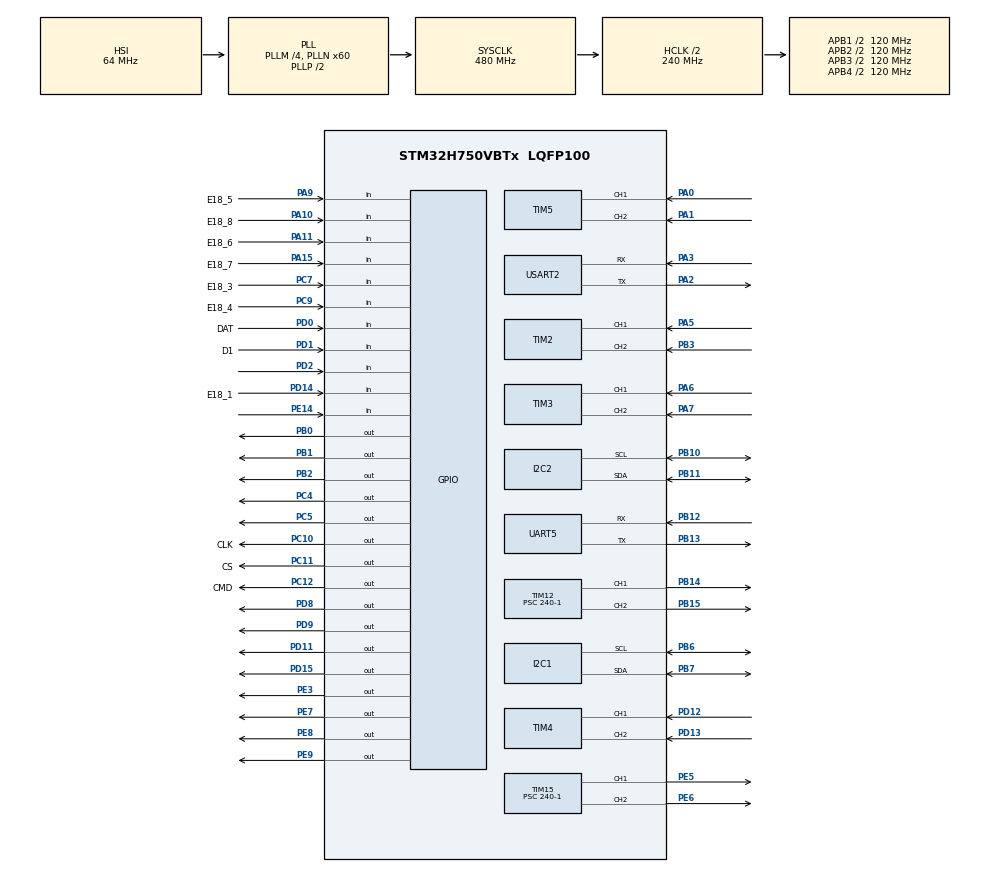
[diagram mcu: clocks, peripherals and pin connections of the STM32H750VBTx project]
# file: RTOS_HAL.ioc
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CORTEX_M7.default_mode_Activation=1
FREERTOS.Events01=ControlEvent,Dynamic,NULL
FREERTOS.Queues01=YawData,1,float,0,Dynamic,NULL,NULL
FREERTOS.Tasks01=defaultTask,24,512,StartDefaultTask,Default,NULL,Dynamic,NULL,NULL;Control_Task,24,512,StartControl,Default,NULL,Dynamic,NULL,NULL;Motor_Task,26,1024,StartMotor,Default,NULL,Dynamic,NULL,NULL;Tof_F_Task,24,512,StartTof_F,Default,NULL,Dynamic,NULL,NULL;PS2Task,24,128,StartPS2,Default,NULL,Dynamic,NULL,NULL;Type_Task,25,512,StartType,Default,NULL,Dynamic,NULL,NULL
FREERTOS.Timers01=MPU6050,MPU6050_Callback,osTimerPeriodic,Default,NULL,Dynamic,NULL
FREERTOS.configTIMER_TASK_PRIORITY=2
FREERTOS.configTOTAL_HEAP_SIZE=20480
FREERTOS.configUSE_IDLE_HOOK=1
FREERTOS.configUSE_STATS_FORMATTING_FUNCTIONS=1
I2C1.Timing=0x307075B1
I2C2.Timing=0x307075B1
Mcu.Family=STM32H7
Mcu.Name=STM32H750VBTx
Mcu.Package=LQFP100
NVIC.PriorityGroup=NVIC_PRIORITYGROUP_4
NVIC.TIM15_IRQn=true\:5\:0\:false\:false\:true\:true\:true\:true\:true
NVIC.TIM6_DAC_IRQn=true\:15\:0\:false\:false\:true\:false\:false\:true\:true
NVIC.TIM7_IRQn=true\:5\:0\:false\:false\:true\:true\:true\:true\:true
NVIC.TIM8_BRK_TIM12_IRQn=true\:5\:0\:false\:false\:true\:true\:true\:true\:true
NVIC.TimeBase=TIM6_DAC_IRQn
NVIC.TimeBaseIP=TIM6
NVIC.UART5_IRQn=true\:5\:0\:false\:false\:true\:true\:true\:true\:true
NVIC.USART2_IRQn=true\:5\:0\:false\:false\:true\:true\:true\:true\:true
PA0.Signal=S_TIM5_CH1
PA1.Signal=S_TIM5_CH2
PA10.GPIO_Label=E18_8
PA10.GPIO_PuPd=GPIO_PULLUP
PA10.Signal=GPIO_Input
PA11.GPIO_Label=E18_6
PA11.GPIO_PuPd=GPIO_PULLUP
PA11.Signal=GPIO_Input
PA15\ (JTDI).GPIO_Label=E18_7
PA15\ (JTDI).GPIO_PuPd=GPIO_PULLUP
PA15\ (JTDI).Signal=GPIO_Input
PA2.Mode=Asynchronous
PA2.Signal=USART2_TX
PA3.Mode=Asynchronous
PA3.Signal=USART2_RX
PA5.Signal=S_TIM2_CH1_ETR
PA6.Signal=S_TIM3_CH1
PA7.Signal=S_TIM3_CH2
PA9.GPIO_Label=E18_5
PA9.GPIO_PuPd=GPIO_PULLUP
PA9.Signal=GPIO_Input
PB0.Signal=GPIO_Output
PB1.Signal=GPIO_Output
PB10.Mode=I2C
PB10.Signal=I2C2_SCL
PB11.Mode=I2C
PB11.Signal=I2C2_SDA
PB12.Mode=Asynchronous
PB12.Signal=UART5_RX
PB13.Mode=Asynchronous
PB13.Signal=UART5_TX
PB14.Signal=S_TIM12_CH1
PB15.Signal=S_TIM12_CH2
PB2.Signal=GPIO_Output
PB3\ (JTDO/TRACESWO).Signal=S_TIM2_CH2
PB6.Mode=I2C
PB6.Signal=I2C1_SCL
PB7.Mode=I2C
PB7.Signal=I2C1_SDA
PC10.GPIO_Label=CLK
PC10.GPIO_Speed=GPIO_SPEED_FREQ_HIGH
PC10.Signal=GPIO_Output
PC11.GPIO_Label=CS
PC11.GPIO_Speed=GPIO_SPEED_FREQ_HIGH
PC11.Signal=GPIO_Output
PC12.GPIO_Label=CMD
PC12.GPIO_Speed=GPIO_SPEED_FREQ_HIGH
PC12.Signal=GPIO_Output
PC4.Signal=GPIO_Output
PC5.Signal=GPIO_Output
PC7.GPIO_Label=E18_3
PC7.GPIO_PuPd=GPIO_PULLUP
PC7.Signal=GPIO_Input
PC9.GPIO_Label=E18_4
PC9.GPIO_PuPd=GPIO_PULLUP
PC9.Signal=GPIO_Input
PD0.GPIO_Label=DAT
PD0.GPIO_PuPd=GPIO_PULLDOWN
PD0.Signal=GPIO_Input
PD1.GPIO_Label=D1
PD1.GPIO_PuPd=GPIO_PULLUP
PD1.Signal=GPIO_Input
PD11.Signal=GPIO_Output
PD12.Signal=S_TIM4_CH1
PD13.Signal=S_TIM4_CH2
PD14.GPIO_Label=E18_1
PD14.GPIO_PuPd=GPIO_PULLUP
PD14.Signal=GPIO_Input
PD15.Signal=GPIO_Output
PD2.GPIO_PuPd=GPIO_PULLUP
PD2.Signal=GPIO_Input
PD8.Signal=GPIO_Output
PD9.Signal=GPIO_Output
PE14.Signal=GPIO_Input
PE3.Signal=GPIO_Output
PE5.Signal=S_TIM15_CH1
PE6.Signal=S_TIM15_CH2
PE7.Signal=GPIO_Output
PE8.Signal=GPIO_Output
PE9.Signal=GPIO_Output
PH0-OSC_IN\ (PH0).Mode=HSE-External-Oscillator
PH0-OSC_IN\ (PH0).Signal=RCC_OSC_IN
PH1-OSC_OUT\ (PH1).Mode=HSE-External-Oscillator
PH1-OSC_OUT\ (PH1).Signal=RCC_OSC_OUT
ProjectManager.HeapSize=0x200
ProjectManager.StackSize=0x400
ProjectManager.TargetToolchain=MDK-ARM V5
RCC.ADCFreq_Value=129000000
RCC.APB1Freq_Value=120000000
RCC.APB2Freq_Value=120000000
RCC.APB3Freq_Value=120000000
RCC.APB4Freq_Value=120000000
RCC.CortexFreq_Value=480000000
RCC.D1PPRE=RCC_APB3_DIV2
RCC.D2PPRE1=RCC_APB1_DIV2
RCC.D2PPRE2=RCC_APB2_DIV2
RCC.D3PPRE=RCC_APB4_DIV2
RCC.DIVM1=4
RCC.DIVN1=60
RCC.HCLKFreq_Value=240000000
RCC.HPRE=RCC_HCLK_DIV2
RCC.PLL2FRACN=0
RCC.PLL3FRACN=0
RCC.PLLFRACN=0
RCC.SYSCLKFreq_VALUE=480000000
RCC.SYSCLKSource=RCC_SYSCLKSOURCE_PLLCLK
RCC.USBFreq_Value=480000000
SH.S_TIM12_CH1.0=TIM12_CH1,PWM Generation1 CH1
SH.S_TIM12_CH2.0=TIM12_CH2,PWM Generation2 CH2
SH.S_TIM15_CH1.0=TIM15_CH1,PWM Generation1 CH1
SH.S_TIM15_CH2.0=TIM15_CH2,PWM Generation2 CH2
SH.S_TIM2_CH1_ETR.0=TIM2_CH1,Encoder_Interface
SH.S_TIM2_CH2.0=TIM2_CH2,Encoder_Interface
SH.S_TIM3_CH1.0=TIM3_CH1,Encoder_Interface
SH.S_TIM3_CH2.0=TIM3_CH2,Encoder_Interface
SH.S_TIM4_CH1.0=TIM4_CH1,Encoder_Interface
SH.S_TIM4_CH2.0=TIM4_CH2,Encoder_Interface
SH.S_TIM5_CH1.0=TIM5_CH1,Encoder_Interface
SH.S_TIM5_CH2.0=TIM5_CH2,Encoder_Interface
TIM12.Channel-PWM\ Generation1\ CH1=TIM_CHANNEL_1
TIM12.Channel-PWM\ Generation2\ CH2=TIM_CHANNEL_2
TIM12.Period=100-1
TIM12.Prescaler=240-1
TIM15.Channel-PWM\ Generation1\ CH1=TIM_CHANNEL_1
TIM15.Channel-PWM\ Generation2\ CH2=TIM_CHANNEL_2
TIM15.Period=100-1
TIM15.Prescaler=240-1
TIM2.EncoderMode=TIM_ENCODERMODE_TI12
TIM3.EncoderMode=TIM_ENCODERMODE_TI12
TIM4.EncoderMode=TIM_ENCODERMODE_TI12
TIM5.EncoderMode=TIM_ENCODERMODE_TI12
TIM7.Period=65535
TIM7.Prescaler=240-1
USART2.VirtualMode-Asynchronous=VM_ASYNC
VP_FREERTOS_VS_CMSIS_V2.Mode=CMSIS_V2
VP_MEMORYMAP_VS_MEMORYMAP.Mode=CurAppReg
VP_SYS_VS_tim6.Mode=TIM6
VP_TIM12_VS_ClockSourceINT.Mode=Internal
VP_TIM15_VS_ClockSourceINT.Mode=Internal
VP_TIM1_VS_ClockSourceINT.Mode=Internal
VP_TIM7_VS_ClockSourceINT.Mode=Enable_Timer
board=custom

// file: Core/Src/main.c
/* USER CODE BEGIN Header */
/**
  ******************************************************************************
  * @file           : main.c
  * @brief          : Main program body
  ******************************************************************************
  * @attention
  *
  * Copyright (c) 2024 STMicroelectronics.
  * All rights reserved.
  *
  * This software is licensed under terms that can be found in the LICENSE file
  * in the root directory of this software component.
  * If no LICENSE file comes with this software, it is provided AS-IS.
  *
  ******************************************************************************
  */
/* USER CODE END Header */
#include "main.h"
#include "cmsis_os.h"
#include "i2c.h"
#include "memorymap.h"
#include "tim.h"
#include "usart.h"
#include "gpio.h"

/* USER CODE BEGIN Includes */
#include "../../BSP/robot_motor.h"
#include "string.h"
#include "ps2.h"
/* USER CODE END Includes */

void SystemClock_Config(void);
static void MPU_Config(void);
void MX_FREERTOS_Init(void);

/* USER CODE BEGIN 0 */

/* 通过 UART5 阻塞发送 ch 的低八位，单字节超时为 65535 毫秒。
 * 忽略流参数 f 和 HAL 状态，返回原 ch，调用方无法据此判断是否发送成功。
 */
int fputc(int ch, FILE *f)
{
  HAL_UART_Transmit(&huart5, (uint8_t *)&ch, 1, 0xffff);
  return ch;
}

/* 通过 UART5 阻塞读取一个字节，忽略流参数 f，超时为 65535 毫秒。
 * 成功时返回接收值；接收失败时 ch 可能尚未赋值，返回值不能用于判定错误。
 */
int fgetc(FILE *f)
{
  uint8_t ch;
  HAL_UART_Receive(&huart5, &ch, 1, 0xffff);
  return ch;
}

/* USER CODE END 0 */

/* 在启动调度器前配置外设、手柄和 MPU6050，启动四路 PWM 与编码器。
 * DMP 初始化失败进入 Error_Handler；调度器返回时主程序停在空循环。
 */
int main(void)
{

  /* MPU Configuration--------------------------------------------------------*/
  MPU_Config();

  /* MCU Configuration--------------------------------------------------------*/

  /* Reset of all peripherals, Initializes the Flash interface and the Systick. */
  HAL_Init();

  /* Configure the system clock */
  SystemClock_Config();

  /* Initialize all configured peripherals */
  MX_GPIO_Init();
  MX_I2C1_Init();
  MX_I2C2_Init();
  MX_TIM2_Init();
  MX_UART5_Init();
  MX_TIM1_Init();
  MX_TIM3_Init();
  MX_TIM4_Init();
  MX_TIM5_Init();
  MX_TIM12_Init();
  MX_TIM15_Init();
  MX_USART2_UART_Init();
  MX_TIM7_Init();
  /* USER CODE BEGIN 2 */

    AX_PS2_Init();
    if (MPU6050_DMP_init() != 0)
    {
        Error_Handler();
    }

  HAL_TIM_Base_Start_IT(&htim12);
  HAL_TIM_Base_Start_IT(&htim15);

  HAL_TIM_PWM_Start(&htim12,TIM_CHANNEL_1);
  HAL_TIM_PWM_Start(&htim12,TIM_CHANNEL_2);
  HAL_TIM_PWM_Start(&htim15,TIM_CHANNEL_1);
  HAL_TIM_PWM_Start(&htim15,TIM_CHANNEL_2);

  HAL_TIM_Encoder_Start(&htim2,TIM_CHANNEL_ALL);
  HAL_TIM_Encoder_Start(&htim3,TIM_CHANNEL_ALL);
  HAL_TIM_Encoder_Start(&htim4,TIM_CHANNEL_ALL);
  HAL_TIM_Encoder_Start(&htim5,TIM_CHANNEL_ALL);

  /* USER CODE END 2 */

  /* Init scheduler */
  osKernelInitialize();

  /* Call init function for freertos objects (in cmsis_os2.c) */
  MX_FREERTOS_Init();

  /* Start scheduler */
  osKernelStart();

  /* We should never get here as control is now taken by the scheduler */

  /* Infinite loop */
  while (1)
  {

  }
}

void SystemClock_Config(void)
{
  RCC_OscInitTypeDef RCC_OscInitStruct = {0};
  RCC_ClkInitTypeDef RCC_ClkInitStruct = {0};

  /** Supply configuration update enable
  */
  HAL_PWREx_ConfigSupply(PWR_LDO_SUPPLY);

  /** Configure the main internal regulator output voltage
  */
  __HAL_PWR_VOLTAGESCALING_CONFIG(PWR_REGULATOR_VOLTAGE_SCALE1);

  while(!__HAL_PWR_GET_FLAG(PWR_FLAG_VOSRDY)) {}

  __HAL_RCC_SYSCFG_CLK_ENABLE();
  __HAL_PWR_VOLTAGESCALING_CONFIG(PWR_REGULATOR_VOLTAGE_SCALE0);

  while(!__HAL_PWR_GET_FLAG(PWR_FLAG_VOSRDY)) {}

  /** Initializes the RCC Oscillators according to the specified parameters
  * in the RCC_OscInitTypeDef structure.
  */
  RCC_OscInitStruct.OscillatorType = RCC_OSCILLATORTYPE_HSI;
  RCC_OscInitStruct.HSIState = RCC_HSI_DIV1;
  RCC_OscInitStruct.HSICalibrationValue = RCC_HSICALIBRATION_DEFAULT;
  RCC_OscInitStruct.PLL.PLLState = RCC_PLL_ON;
  RCC_OscInitStruct.PLL.PLLSource = RCC_PLLSOURCE_HSI;
  RCC_OscInitStruct.PLL.PLLM = 4;
  RCC_OscInitStruct.PLL.PLLN = 60;
  RCC_OscInitStruct.PLL.PLLP = 2;
  RCC_OscInitStruct.PLL.PLLQ = 2;
  RCC_OscInitStruct.PLL.PLLR = 2;
  RCC_OscInitStruct.PLL.PLLRGE = RCC_PLL1VCIRANGE_3;
  RCC_OscInitStruct.PLL.PLLVCOSEL = RCC_PLL1VCOWIDE;
  RCC_OscInitStruct.PLL.PLLFRACN = 0;
  if (HAL_RCC_OscConfig(&RCC_OscInitStruct) != HAL_OK)
  {
    Error_Handler();
  }

  /** Initializes the CPU, AHB and APB buses clocks
  */
  RCC_ClkInitStruct.ClockType = RCC_CLOCKTYPE_HCLK|RCC_CLOCKTYPE_SYSCLK
                              |RCC_CLOCKTYPE_PCLK1|RCC_CLOCKTYPE_PCLK2
                              |RCC_CLOCKTYPE_D3PCLK1|RCC_CLOCKTYPE_D1PCLK1;
  RCC_ClkInitStruct.SYSCLKSource = RCC_SYSCLKSOURCE_PLLCLK;
  RCC_ClkInitStruct.SYSCLKDivider = RCC_SYSCLK_DIV1;
  RCC_ClkInitStruct.AHBCLKDivider = RCC_HCLK_DIV2;
  RCC_ClkInitStruct.APB3CLKDivider = RCC_APB3_DIV2;
  RCC_ClkInitStruct.APB1CLKDivider = RCC_APB1_DIV2;
  RCC_ClkInitStruct.APB2CLKDivider = RCC_APB2_DIV2;
  RCC_ClkInitStruct.APB4CLKDivider = RCC_APB4_DIV2;

  if (HAL_RCC_ClockConfig(&RCC_ClkInitStruct, FLASH_LATENCY_4) != HAL_OK)
  {
    Error_Handler();
  }
}

 /* MPU Configuration */

void MPU_Config(void)
{
  MPU_Region_InitTypeDef MPU_InitStruct = {0};

  /* Disables the MPU */
  HAL_MPU_Disable();

  /** Initializes and configures the Region and the memory to be protected
  */
  MPU_InitStruct.Enable = MPU_REGION_ENABLE;
  MPU_InitStruct.Number = MPU_REGION_NUMBER0;
  MPU_InitStruct.BaseAddress = 0x0;
  MPU_InitStruct.Size = MPU_REGION_SIZE_4GB;
  MPU_InitStruct.SubRegionDisable = 0x87;
  MPU_InitStruct.TypeExtField = MPU_TEX_LEVEL0;
  MPU_InitStruct.AccessPermission = MPU_REGION_NO_ACCESS;
  MPU_InitStruct.DisableExec = MPU_INSTRUCTION_ACCESS_DISABLE;
  MPU_InitStruct.IsShareable = MPU_ACCESS_SHAREABLE;
  MPU_InitStruct.IsCacheable = MPU_ACCESS_NOT_CACHEABLE;
  MPU_InitStruct.IsBufferable = MPU_ACCESS_NOT_BUFFERABLE;

  HAL_MPU_ConfigRegion(&MPU_InitStruct);

  /* Enables the MPU */
  HAL_MPU_Enable(MPU_PRIVILEGED_DEFAULT);

}

void HAL_TIM_PeriodElapsedCallback(TIM_HandleTypeDef *htim)
{
  if (htim->Instance == TIM6) {
    HAL_IncTick();
  }
}

/* 关闭可屏蔽中断并停在故障现场。若 IWDG1 已启动，将由看门狗超时复位。 */
void Error_Handler(void)
{
  /* USER CODE BEGIN Error_Handler_Debug */
  __disable_irq();
  /* 初始化中途和运行期共用此入口，只操作已经供钟的外设。 */
  if (__HAL_RCC_GPIOD_IS_CLK_ENABLED())
  {
    HAL_GPIO_WritePin(GPIOD, GPIO_PIN_8, GPIO_PIN_RESET);
  }
  robot_motor_emergency_stop();
  while (1)
  {
  }
  /* USER CODE END Error_Handler_Debug */
}

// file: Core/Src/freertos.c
/* USER CODE BEGIN Header */
/**
  ******************************************************************************
  * File Name          : freertos.c
  * Description        : Code for freertos applications
  ******************************************************************************
  * @attention
  *
  * Copyright (c) 2024 STMicroelectronics.
  * All rights reserved.
  *
  * This software is licensed under terms that can be found in the LICENSE file
  * in the root directory of this software component.
  * If no LICENSE file comes with this software, it is provided AS-IS.
  *
  ******************************************************************************
  */
/* USER CODE END Header */

#include "FreeRTOS.h"
#include "task.h"
#include "main.h"
#include "cmsis_os.h"

/* USER CODE BEGIN Includes */
#include <math.h>
#include <stdbool.h>
#include <stddef.h>
#include <stdint.h>

#include "../../BSP/robot_motor.h"
#include "../../BSP/robot_range.h"
#include "../../BSP/robot_uart.h"
#include "../../BSP/robot_watchdog.h"
#include "../../MPU6050/MPU6050.h"
#include "../../PID/pid.h"
#include "../../PS2/ps2.h"
#include "../../modules/robot_link.h"
#include "event_groups.h"
#include "queue.h"
#include "tim.h"
#include "usart.h"
/* USER CODE END Includes */

/* USER CODE BEGIN PTD */
typedef struct
{
    uint32_t progress_ms;
    uint32_t heartbeat_ms;
    uint32_t legacy_request_ms;
    uint8_t spray_request;
    bool supervised;
    bool stopped;
} robot_control_status;

/* 同一指令编号在手动和自动模式下沿用原有含义。 */
typedef enum
{
    /* 上电尚未选择动作。 */
    ROBOT_MOTION_UNSET = 0,
    /* 向前行驶。 */
    ROBOT_MOTION_FORWARD = 1,
    /* 向后行驶。 */
    ROBOT_MOTION_REVERSE = 2,
    /* 自动前端减速，手动向右平移。 */
    ROBOT_MOTION_FRONT_APPROACH = 3,
    /* 自动后端减速，手动向左平移。 */
    ROBOT_MOTION_REAR_APPROACH = 4,
    /* 自动向左换行，手动正向旋转。 */
    ROBOT_MOTION_SHIFT_LEFT = 5,
    /* 自动向左减速。 */
    ROBOT_MOTION_SLOW_LEFT = 6,
    /* 自动按前距右移，手动反向旋转。 */
    ROBOT_MOTION_FRONT_SHIFT = 7,
    /* 自动按后距右移。 */
    ROBOT_MOTION_REAR_SHIFT = 8,
    /* 末行向右退出。 */
    ROBOT_MOTION_EXIT_SHIFT = 9,
    /* 目标速度归零。 */
    ROBOT_MOTION_STOP = 10,
    /* 起步向左移入首行。 */
    ROBOT_MOTION_ENTRY = 11
} robot_motion_command;

typedef enum
{
    /* 尚未进垄，或行程已结束。 */
    ROBOT_ROUTE_IDLE,
    /* 向后行驶，等待后端换垄。 */
    ROBOT_ROUTE_REVERSE,
    /* 向前行驶，等待前端换垄。 */
    ROBOT_ROUTE_FORWARD,
    /* 最后一次换垄后退出。 */
    ROBOT_ROUTE_EXIT
} robot_route_phase;

typedef struct
{
    float forward;
    float lateral;
    float rotation;
} robot_velocity;

typedef struct
{
    int yaw;
    int front;
    int rear;
    int left;
} robot_motion_trim;

typedef struct
{
    robot_range_sample sample;
    uint32_t started_ms;
    bool valid;
} robot_range_update;

typedef struct
{
    bool range_valid;
    bool front;
    bool rear;
    bool left;
    robot_range_sample range;
    float reference_rpm;
} robot_route_input;

typedef struct
{
    robot_route_phase phase;
    bool entered;
    bool counting_shift;
    bool counting_exit;
    bool slow_exit_pending;
    unsigned int completed_rows;
    double entry_m;
    double shift_m;
    double exit_m;
} robot_route_state;
/* USER CODE END PTD */

/* USER CODE BEGIN PD */
#define ROBOT_CONTROL_PROGRESS_MS (250U)
#define ROBOT_CONTROL_WAKE_MS (20U)
#define ROBOT_CONTROL_TX_TIMEOUT_MS (5U)
#define ROBOT_MOTION_PERIOD_MS (10U)
#define ROBOT_PS2_PERIOD_MS (15U)
#define ROBOT_IMU_PERIOD_MS (30U)
/* 三次默认单次测距的预算各为 33 毫秒，另留总线和任务调度时间。 */
#define ROBOT_RANGE_MAX_AGE_MS (500U)
#define ROBOT_RANGE_INIT_RETRY_MS (1000U)
#define ROBOT_IMU_SAMPLE_EVENT (1U << 0)
#define ROBOT_PS2_ANALOG_MODE (0x73U)
#define ROBOT_PS2_START_BUTTON (0x04U)
#define ROBOT_PS2_VERTICAL_CENTER (127U)
#define ROBOT_PS2_HORIZONTAL_CENTER (128U)
#define ROBOT_FRONT_REAR_TARGET_MM (100U)
#define ROBOT_LEFT_TARGET_MM (80U)
#define ROBOT_LEFT_LIMIT_MM (200U)
#define ROBOT_ENTRY_DISTANCE_MM (175U)
#define ROBOT_ROW_END_MM (150U)
#define ROBOT_EXIT_DISTANCE_MM (200U)
#define ROBOT_ROW_COUNT (3U)
#define ROBOT_ENTRY_TRAVEL_M (0.50)
#define ROBOT_SHIFT_TRAVEL_M (0.55)
#define ROBOT_EXIT_TRAVEL_M (0.50)
#define ROBOT_WHEEL_DIAMETER_M (0.08)
#define ROBOT_ENCODER_COUNTS_PER_REV (11.0 * 30.0 * 4.0)
/* 保留底盘实测使用的原换算系数和圆周率近似值。 */
#define ROBOT_ENCODER_RPM_SCALE (2000.0)
#define ROBOT_WHEEL_PI (3.14)
#define ROBOT_ROTATION_ARM (0.2F)
#define ROBOT_CONTROL_BATCH_BYTES (32U)
#define ROBOT_PUMP_ON (1U)
#define ROBOT_PUMP_OFF (2U)
/* USER CODE END PD */

/* USER CODE BEGIN Variables */
/* 调度前初始化，整个上电周期由电机任务独占。四轮顺序与 PWM 输出 A、B、C、D 一致。 */
static pid_type_def g_robot_wheel_pid[4];
static pid_type_def g_robot_yaw_pid;
/* 前后测距依次使用同一控制器，共享误差历史；左侧测距使用独立控制器。 */
static pid_type_def g_robot_front_rear_range_pid;
static pid_type_def g_robot_left_range_pid;

/* 单槽快照只保留最新值。通信任务 -> control_queue -> 电机任务（窥读）；
 * 测距任务 -> range_queue -> 电机任务（取走）。两条队列的存储持续整个上电周期。
 */
static StaticQueue_t g_robot_control_queue_storage;
static uint8_t g_robot_control_slot[sizeof(robot_control_status)];
static QueueHandle_t g_robot_control_queue;
static StaticQueue_t g_robot_range_queue_storage;
static uint8_t g_robot_range_slot[sizeof(robot_range_update)];
static QueueHandle_t g_robot_range_queue;
static robot_control_status g_robot_control_status;
static robot_link_receiver g_robot_link_receiver;

/* 以下状态在本次上电期间由任务共享。发布手柄、控制指令和传感器快照时保护一致性。 */
static robot_motion_command g_robot_motion_command;
static robot_route_input g_robot_route_input;
static bool g_robot_route_enabled;
static bool g_robot_entry_counting;

/* 保留原有实际施药请求的外部观察点，供板上调试读取。 */
uint8_t g_robot_spray_request;
/* USER CODE END Variables */
/* Definitions for defaultTask */
osThreadId_t defaultTaskHandle;
const osThreadAttr_t defaultTask_attributes = {
  .name = "defaultTask",
  .stack_size = 512 * 4,
  .priority = (osPriority_t) osPriorityNormal,
};
/* Definitions for Control_Task */
osThreadId_t Control_TaskHandle;
const osThreadAttr_t Control_Task_attributes = {
  .name = "Control_Task",
  .stack_size = 512 * 4,
  .priority = (osPriority_t) osPriorityNormal,
};
/* Definitions for Motor_Task */
osThreadId_t Motor_TaskHandle;
const osThreadAttr_t Motor_Task_attributes = {
  .name = "Motor_Task",
  .stack_size = 1024 * 4,
  .priority = (osPriority_t) osPriorityNormal2,
};
/* Definitions for Tof_F_Task */
osThreadId_t Tof_F_TaskHandle;
const osThreadAttr_t Tof_F_Task_attributes = {
  .name = "Tof_F_Task",
  .stack_size = 512 * 4,
  .priority = (osPriority_t) osPriorityNormal,
};
/* Definitions for PS2Task */
osThreadId_t PS2TaskHandle;
const osThreadAttr_t PS2Task_attributes = {
  .name = "PS2Task",
  .stack_size = 128 * 4,
  .priority = (osPriority_t) osPriorityNormal,
};
/* Definitions for Type_Task */
osThreadId_t Type_TaskHandle;
const osThreadAttr_t Type_Task_attributes = {
  .name = "Type_Task",
  .stack_size = 512 * 4,
  .priority = (osPriority_t) osPriorityNormal1,
};
/* Definitions for YawData */
osMessageQueueId_t YawDataHandle;
const osMessageQueueAttr_t YawData_attributes = {
  .name = "YawData"
};
/* Definitions for MPU6050 */
osTimerId_t MPU6050Handle;
const osTimerAttr_t MPU6050_attributes = {
  .name = "MPU6050"
};
/* Definitions for ControlEvent */
osEventFlagsId_t ControlEventHandle;
const osEventFlagsAttr_t ControlEvent_attributes = {
  .name = "ControlEvent"
};

/* USER CODE BEGIN FunctionPrototypes */
static void robot_control_deliver(const robot_link_event *event);
static bool robot_control_allow_motion(void);
static uint8_t robot_control_pump_request(const robot_control_status *status, uint32_t now_ms);
static robot_motion_command robot_ps2_decode(const JOYSTICK_TypeDef *joystick);
static void robot_route_step(robot_route_state *route, const robot_route_input *input);
static void robot_motion_select(bool manual, robot_motion_command command,
                                const robot_motion_trim *trim, robot_velocity *velocity);
static void robot_motion_drive(const robot_velocity *velocity, float wheel_rpm[4]);
static void robot_motion_write(const int pwm[4]);
/* USER CODE END FunctionPrototypes */

void StartDefaultTask(void *argument);
void StartControl(void *argument);
void StartMotor(void *argument);
void StartTof_F(void *argument);
void StartPS2(void *argument);
void StartType(void *argument);
void MPU6050_Callback(void *argument);

void MX_FREERTOS_Init(void); /* (MISRA C 2004 rule 8.1) */

/* Hook prototypes */
void vApplicationIdleHook(void);

/* USER CODE BEGIN 2 */
/* FreeRTOS 已启用空闲钩子。此处直接返回，供内核继续回收已删除任务。 */
void vApplicationIdleHook(void)
{
}
/* USER CODE END 2 */

/* 由 main 在调度开始前调用，配置 PID、任务、单槽队列、事件组和姿态采样定时器。
 * 检查对象句柄后启动 IWDG1，创建对象或启动看门狗失败时进入 Error_Handler。
 */
void MX_FREERTOS_Init(void) {
  /* USER CODE BEGIN Init */
    const float wheel_gains[3] = {5.0F, 0.2F, 0.0F};
    const float yaw_gains[3] = {2.5F, 0.0F, 0.3F};
    const float front_rear_gains[3] = {0.15F, 0.0F, 0.005F};
    const float left_gains[3] = {0.5F, 0.0F, 0.02F};
    size_t wheel;

    for (wheel = 0U; wheel < sizeof(g_robot_wheel_pid) / sizeof(g_robot_wheel_pid[0]); ++wheel)
    {
        pid_init(&g_robot_wheel_pid[wheel], PID_DELTA, wheel_gains, 100.0F, 5.0F);
    }
    pid_init(&g_robot_yaw_pid, PID_POSITION, yaw_gains, 500.0F, 5.0F);
    pid_init(&g_robot_front_rear_range_pid, PID_POSITION, front_rear_gains, 100.0F, 5.0F);
    pid_init(&g_robot_left_range_pid, PID_POSITION, left_gains, 100.0F, 5.0F);
  /* USER CODE END Init */

  /* Create the timer(s) */
  /* creation of MPU6050 */
  MPU6050Handle = osTimerNew(MPU6050_Callback, osTimerPeriodic, NULL, &MPU6050_attributes);

  /* Create the queue(s) */
  /* creation of YawData */
  YawDataHandle = osMessageQueueNew (1, sizeof(float), &YawData_attributes);

  /* USER CODE BEGIN RTOS_QUEUES */
    g_robot_control_queue = xQueueCreateStatic(1U, sizeof(robot_control_status),
                                                g_robot_control_slot, &g_robot_control_queue_storage);
    g_robot_range_queue = xQueueCreateStatic(1U, sizeof(robot_range_update),
                                              g_robot_range_slot, &g_robot_range_queue_storage);
    if (g_robot_control_queue == NULL || g_robot_range_queue == NULL)
    {
        Error_Handler();
    }
  /* USER CODE END RTOS_QUEUES */

  /* Create the thread(s) */
  /* creation of defaultTask */
  defaultTaskHandle = osThreadNew(StartDefaultTask, NULL, &defaultTask_attributes);

  /* creation of Control_Task */
  Control_TaskHandle = osThreadNew(StartControl, NULL, &Control_Task_attributes);

  /* creation of Motor_Task */
  Motor_TaskHandle = osThreadNew(StartMotor, NULL, &Motor_Task_attributes);

  /* creation of Tof_F_Task */
  Tof_F_TaskHandle = osThreadNew(StartTof_F, NULL, &Tof_F_Task_attributes);

  /* creation of PS2Task */
  PS2TaskHandle = osThreadNew(StartPS2, NULL, &PS2Task_attributes);

  /* creation of Type_Task */
  Type_TaskHandle = osThreadNew(StartType, NULL, &Type_Task_attributes);

  /* Create the event(s) */
  /* creation of ControlEvent */
  ControlEventHandle = osEventFlagsNew(&ControlEvent_attributes);

  /* USER CODE BEGIN RTOS_EVENTS */
    if (defaultTaskHandle == NULL || Motor_TaskHandle == NULL || Control_TaskHandle == NULL ||
        Type_TaskHandle == NULL || Tof_F_TaskHandle == NULL || PS2TaskHandle == NULL ||
        ControlEventHandle == NULL || YawDataHandle == NULL || MPU6050Handle == NULL)
    {
        Error_Handler();
    }
    if (!robot_watchdog_start())
    {
        Error_Handler();
    }
  /* USER CODE END RTOS_EVENTS */

}

/* USER CODE BEGIN Header_StartDefaultTask */
/* 通信任务独占 USART2 接收器，按字节解析并向电机任务发布最新控制状态。
 * 心跳超时、启动接收失败或字节流中断会锁存停车请求；恢复 DMA 后仍保留该请求。
 */
/* USER CODE END Header_StartDefaultTask */
void StartDefaultTask(void *argument)
{
  /* USER CODE BEGIN StartDefaultTask */
    uint8_t bytes[ROBOT_CONTROL_BATCH_BYTES];
    bool running = false;
    (void)argument;
    for (;;)
    {
        bool fault = false;
        size_t count;
        size_t index;
        if (!running)
        {
            running = robot_uart_start();
            if (!running)
            {
                g_robot_control_status.stopped = true;
            }
        }
        count = running ? robot_uart_read(bytes, sizeof(bytes), &fault) : 0U;
        if (fault)
        {
            g_robot_control_status.stopped = true;
            g_robot_link_receiver.used = 0U;
            g_robot_link_receiver.phase = ROBOT_LINK_DROP_LINE;
            running = false;
        }
        for (index = 0U; index < count; ++index)
        {
            /* 上一帧的 ACK 可能阻塞，解析器只在处理行尾时使用毫秒时钟。 */
            uint32_t frame_ms = bytes[index] == '\n' ? HAL_GetTick() : 0U;
            robot_link_feed(&g_robot_link_receiver, bytes[index], frame_ms, robot_control_deliver);
        }
        g_robot_control_status.progress_ms = HAL_GetTick();
        if (robot_link_expired(&g_robot_link_receiver, g_robot_control_status.progress_ms))
        {
            g_robot_control_status.stopped = true;
        }
        g_robot_control_status.spray_request =
            robot_control_pump_request(&g_robot_control_status, g_robot_control_status.progress_ms);
        if (xQueueOverwrite(g_robot_control_queue, &g_robot_control_status) != pdPASS)
        {
            Error_Handler();
        }
        if (count == 0U)
        {
            /* 定时唤醒用于监督会话和恢复 DMA，返回零表示当前无通知。 */
            (void)ulTaskNotifyTake(pdTRUE, pdMS_TO_TICKS(ROBOT_CONTROL_WAKE_MS));
        }
    }
  /* USER CODE END StartDefaultTask */
}

/* USER CODE BEGIN Header_StartControl */
/* 姿态任务按软件定时器事件读取 DMP，将有限的偏航角（度）覆盖写入单槽队列。
 * FIFO 读取失败或未产生有效偏航角时跳过本次发布。
 */
/* USER CODE END Header_StartControl */
void StartControl(void *argument)
{
  /* USER CODE BEGIN StartControl */
    (void)argument;
    if (osTimerStart(MPU6050Handle, pdMS_TO_TICKS(ROBOT_IMU_PERIOD_MS)) != osOK)
    {
        Error_Handler();
    }
    for (;;)
    {
        float pitch_deg;
        float roll_deg;
        /* 驱动在 FIFO 未携带四元数时也可能返回成功，过滤未写入的偏航角。 */
        float yaw_deg = NAN;
        EventBits_t events = xEventGroupWaitBits(ControlEventHandle, ROBOT_IMU_SAMPLE_EVENT,
                                                  pdTRUE, pdFALSE, portMAX_DELAY);
        if ((events & ROBOT_IMU_SAMPLE_EVENT) != 0U &&
            MPU6050_DMP_Get_Date(&pitch_deg, &roll_deg, &yaw_deg) == 0 && isfinite(yaw_deg))
        {
            if (xQueueOverwrite(YawDataHandle, &yaw_deg) != pdPASS)
            {
                Error_Handler();
            }
        }
    }
  /* USER CODE END StartControl */
}

/* USER CODE BEGIN Header_StartMotor */
/* 电机任务以 10 毫秒延时分隔控制周期，根据手动或导航指令更新四轮闭环输出。
 * 通信故障时关闭 PWM 和 PD8；自动导航还须有新鲜测距。仅收到有效开启请求时拉高 PD8。
 */
/* USER CODE END Header_StartMotor */
void StartMotor(void *argument)
{
  /* USER CODE BEGIN StartMotor */
    robot_velocity velocity = {0};
    robot_motion_trim trim = {0};
    robot_route_input input = {0};
    robot_range_update update = {0};
    const int zero_pwm[4] = {0};
    (void)argument;
    for (;;)
    {
        robot_motion_command command;
        bool manual;
        bool received;
        bool range_stop;
        float yaw_deg;
        float wheel_rpm[4];
        vTaskDelay(pdMS_TO_TICKS(ROBOT_MOTION_PERIOD_MS));
        if (!robot_control_allow_motion())
        {
            HAL_GPIO_WritePin(GPIOD, GPIO_PIN_8, GPIO_PIN_RESET);
            robot_motion_write(zero_pwm);
            taskENTER_CRITICAL();
            g_robot_route_input.range_valid = false;
            taskEXIT_CRITICAL();
            continue;
        }

        taskENTER_CRITICAL();
        manual = my_joystick.mode == ROBOT_PS2_ANALOG_MODE;
        if (my_joystick.btn2 == ROBOT_PS2_START_BUTTON)
        {
            g_robot_route_enabled = true;
            g_robot_entry_counting = true;
            g_robot_motion_command = ROBOT_MOTION_ENTRY;
        }
        command = g_robot_motion_command;
        taskEXIT_CRITICAL();

        /* 三路光电均为低有效，后端实际接在 PA10。 */
        input.front = HAL_GPIO_ReadPin(GPIOA, GPIO_PIN_9) == GPIO_PIN_RESET;
        input.left = HAL_GPIO_ReadPin(GPIOA, GPIO_PIN_11) == GPIO_PIN_RESET;
        input.rear = HAL_GPIO_ReadPin(GPIOA, GPIO_PIN_10) == GPIO_PIN_RESET;

        received = xQueueReceive(g_robot_range_queue, &update, 0U) == pdPASS;
        if (HAL_GetTick() - update.started_ms >= ROBOT_RANGE_MAX_AGE_MS)
        {
            update.valid = false;
        }
        input.range_valid = update.valid;
        range_stop = !manual && !input.range_valid;
        /* 本周期沿用上一次的纠偏量。新样本只影响下一周期的目标轮速。 */
        if (!range_stop)
        {
            robot_motion_select(manual, command, &trim, &velocity);
        }
        if (xQueueReceive(YawDataHandle, &yaw_deg, 0U) == pdPASS)
        {
            trim.yaw = (int)pid_calc(&g_robot_yaw_pid, yaw_deg, 0.0F);
        }
        if (received && input.range_valid)
        {
            input.range = update.sample;
            /* 前后向共用同一 PID 实例，按原有顺序更新其历史状态。 */
            trim.front = (int)pid_calc(&g_robot_front_rear_range_pid, input.range.front_mm, ROBOT_FRONT_REAR_TARGET_MM);
            trim.rear = (int)pid_calc(&g_robot_front_rear_range_pid, input.range.rear_mm, ROBOT_FRONT_REAR_TARGET_MM);
            trim.left = (int)pid_calc(&g_robot_left_range_pid, input.range.left_mm, ROBOT_LEFT_TARGET_MM);
        }
        if (!input.left || input.range.left_mm > ROBOT_LEFT_LIMIT_MM)
        {
            trim.left = 0;
        }

        /* PD8 沿用原停车电平，低为关。自动作业失去测距时也撤销泵输出。 */
        HAL_GPIO_WritePin(GPIOD, GPIO_PIN_8,
                          g_robot_spray_request == ROBOT_PUMP_ON && !(range_stop && g_robot_route_enabled)
                          ? GPIO_PIN_SET : GPIO_PIN_RESET);
        if (range_stop)
        {
            velocity = (robot_velocity){0};
            trim.front = trim.rear = trim.left = 0;
        }
        robot_motion_drive(range_stop ? NULL : &velocity, wheel_rpm);
        /* D 轮为原里程参考轮。整组发布，换垄任务每次读取同一周期的反馈。 */
        input.reference_rpm = wheel_rpm[3];
        taskENTER_CRITICAL();
        g_robot_route_input = input;
        taskEXIT_CRITICAL();
    }
  /* USER CODE END StartMotor */
}

/* USER CODE BEGIN Header_StartTof_F */
/* 测距任务独占三路器件，初始化失败时延时重试。每轮发布三路距离或无效状态，
 * 时间戳取第一路测量前的毫秒时钟，使最早取得的距离也受有效期约束。
 */
/* USER CODE END Header_StartTof_F */
void StartTof_F(void *argument)
{
  /* USER CODE BEGIN StartTof_F */
    robot_range_update update = {0};
    (void)argument;
    while (!robot_range_init())
    {
        vTaskDelay(pdMS_TO_TICKS(ROBOT_RANGE_INIT_RETRY_MS));
    }
    for (;;)
    {
        vTaskDelay(pdMS_TO_TICKS(ROBOT_MOTION_PERIOD_MS));
        update.started_ms = HAL_GetTick();
        update.valid = robot_range_read(&update.sample);
        if (xQueueOverwrite(g_robot_range_queue, &update) != pdPASS)
        {
            Error_Handler();
        }
    }
  /* USER CODE END StartTof_F */
}

/* USER CODE BEGIN Header_StartPS2 */
/* 手柄任务每轮延时 15 毫秒后读取一帧，在同一临界区内发布手柄快照。
 * 仅在模拟模式下更新手动运动指令，其他模式保留当前指令。
 */
/* USER CODE END Header_StartPS2 */
void StartPS2(void *argument)
{
  /* USER CODE BEGIN StartPS2 */
    JOYSTICK_TypeDef sample;
    (void)argument;
    for (;;)
    {
        vTaskDelay(pdMS_TO_TICKS(ROBOT_PS2_PERIOD_MS));
        AX_PS2_ScanKey(&sample);
        taskENTER_CRITICAL();
        my_joystick = sample;
        if (sample.mode == ROBOT_PS2_ANALOG_MODE)
        {
            g_robot_motion_command = robot_ps2_decode(&sample);
        }
        taskEXIT_CRITICAL();
    }
  /* USER CODE END StartPS2 */
}

/* USER CODE BEGIN Header_StartType */
/* 导航任务持有跨周期的垄道状态，仅在路线已启用且手柄处于非模拟模式时推进。
 * 暂停任务调度期间读取电机任务的快照并更新运动指令，中断仍可执行。
 */
/* USER CODE END Header_StartType */
void StartType(void *argument)
{
  /* USER CODE BEGIN StartType */
    robot_route_state route = {0};
    (void)argument;
    for (;;)
    {
        vTaskDelay(pdMS_TO_TICKS(ROBOT_MOTION_PERIOD_MS));
        /* 仅任务访问导航状态。暂停任务切换以完成一次状态转移，外设中断仍可运行。 */
        vTaskSuspendAll();
        if (my_joystick.mode != ROBOT_PS2_ANALOG_MODE && g_robot_route_enabled &&
            g_robot_route_input.range_valid)
        {
            robot_route_step(&route, &g_robot_route_input);
        }
        (void)xTaskResumeAll();
    }
  /* USER CODE END StartType */
}

/* FreeRTOS 软件定时器任务置位姿态采样事件。事件按位传递，重复置位可能合并为一次读取。 */
void MPU6050_Callback(void *argument)
{
  /* USER CODE BEGIN MPU6050_Callback */
    (void)argument;
    /* 回调在软件定时器任务中执行，姿态任务读取后清除此位。 */
    (void)xEventGroupSetBits(ControlEventHandle, ROBOT_IMU_SAMPLE_EVENT);
  /* USER CODE END MPU6050_Callback */
}

/* USER CODE BEGIN Application */
/* 在通信任务内同步处理单帧，event 仅在本次回调期间有效。停车已锁存时直接返回。
 * 新帧更新施药请求和心跳状态，重复帧只重发确认；旧格式指令不发送确认。
 */
static void robot_control_deliver(const robot_link_event *event)
{
    uint8_t ack[ROBOT_LINK_ACK_SIZE];
    if (g_robot_control_status.stopped)
    {
        return;
    }
    if (!event->duplicate)
    {
        /* 新会话从关泵开始，旧协议的开启请求不能由新会话的心跳续期。 */
        if (!g_robot_control_status.supervised && g_robot_link_receiver.active)
        {
            g_robot_control_status.spray_request = ROBOT_PUMP_OFF;
        }
        g_robot_control_status.supervised = g_robot_link_receiver.active;
        g_robot_control_status.heartbeat_ms = g_robot_link_receiver.heartbeat_ms;
        if (event->has_spray)
        {
            g_robot_control_status.spray_request = event->spray_on ? ROBOT_PUMP_ON : ROBOT_PUMP_OFF;
            if (event->legacy)
            {
                g_robot_control_status.legacy_request_ms = HAL_GetTick();
            }
        }
    }
    if (!event->legacy && robot_link_ack(event->sequence, ack))
    {
        /* 发送失败时保留序号，发送方重传后可再次确认；不重复执行业务。 */
        if (HAL_UART_Transmit(&huart2, ack, sizeof(ack), ROBOT_CONTROL_TX_TIMEOUT_MS) != HAL_OK)
        {
            ++g_robot_link_receiver.errors;
        }
    }
}

/* 发布快照和使用快照时均校验旧协议开泵期限。通信任务尚未发布下一次状态时，
 * 电机任务也能在自己的控制周期撤销过期开泵请求。毫秒差值允许时钟回绕。
 */
static uint8_t robot_control_pump_request(const robot_control_status *status, uint32_t now_ms)
{
    if (!status->supervised && status->spray_request == ROBOT_PUMP_ON &&
        now_ms - status->legacy_request_ms >= ROBOT_LINK_TIMEOUT_MS)
    {
        return ROBOT_PUMP_OFF;
    }
    return status->spray_request;
}

/* 电机任务读取最近的通信状态，无状态时返回 false。
 * 通信进度正常时喂狗；进度、会话心跳超时或收到停车状态时锁存停车，直至复位。
 */
static bool robot_control_allow_motion(void)
{
    static bool stopped;
    robot_control_status status;
    uint32_t now_ms;
    if (xQueuePeek(g_robot_control_queue, &status, 0U) != pdPASS)
    {
        return false;
    }
    now_ms = HAL_GetTick();
    if (now_ms - status.progress_ms >= ROBOT_CONTROL_PROGRESS_MS)
    {
        stopped = true;
    }
    else
    {
        robot_watchdog_refresh();
    }
    if (status.stopped || (status.supervised &&
        now_ms - status.heartbeat_ms >= ROBOT_LINK_TIMEOUT_MS))
    {
        stopped = true;
    }
    g_robot_spray_request = stopped ? ROBOT_PUMP_OFF : robot_control_pump_request(&status, now_ms);
    return !stopped;
}

/* 摇杆同时偏移时，旋转优先于横移，横移优先于前后移动。 */
static robot_motion_command robot_ps2_decode(const JOYSTICK_TypeDef *joystick)
{
    if (joystick->RJoy_LR != ROBOT_PS2_HORIZONTAL_CENTER)
    {
        return joystick->RJoy_LR > ROBOT_PS2_HORIZONTAL_CENTER ? ROBOT_MOTION_SHIFT_LEFT : ROBOT_MOTION_FRONT_SHIFT;
    }
    if (joystick->LJoy_LR != ROBOT_PS2_HORIZONTAL_CENTER)
    {
        return joystick->LJoy_LR > ROBOT_PS2_HORIZONTAL_CENTER ? ROBOT_MOTION_FRONT_APPROACH : ROBOT_MOTION_REAR_APPROACH;
    }
    if (joystick->LJoy_UD != ROBOT_PS2_VERTICAL_CENTER)
    {
        return joystick->LJoy_UD < ROBOT_PS2_VERTICAL_CENTER ? ROBOT_MOTION_FORWARD : ROBOT_MOTION_REVERSE;
    }
    return ROBOT_MOTION_STOP;
}

/* 按原轮径及采样标定，将参考轮转速折算为单周期里程。边界采用严格大于。 */
static bool robot_route_passed(bool counting, float reference_rpm, double *total_m, double limit_m)
{
    if (!counting)
    {
        return false;
    }
    float step_m = (float)(fabs(reference_rpm) * ROBOT_WHEEL_PI * ROBOT_WHEEL_DIAMETER_M /
                           ROBOT_ENCODER_RPM_SCALE);
    *total_m += step_m;
    return *total_m > limit_m;
}

/* 在任务调度锁内用本周期光电、距离（毫米）和参考轮转速推进进垄、换垄或退出状态。
 * route 由导航任务跨周期持有。调用方仅在本轮快照含有效测距时推进导航。
 * 换垄改变行进方向时同步更新 PD15，前进置位、后退复位。
 */
static void robot_route_step(robot_route_state *route, const robot_route_input *input)
{
    if (!route->entered && input->left)
    {
        if (input->range.left_mm <= ROBOT_ENTRY_DISTANCE_MM)
        {
            g_robot_motion_command = ROBOT_MOTION_FORWARD;
            HAL_GPIO_WritePin(GPIOD, GPIO_PIN_15, GPIO_PIN_SET);
            route->entered = true;
            route->phase = ROBOT_ROUTE_FORWARD;
        }
        else
        {
            g_robot_motion_command = ROBOT_MOTION_SLOW_LEFT;
        }
    }
    else if (robot_route_passed(g_robot_entry_counting, input->reference_rpm,
                                &route->entry_m, ROBOT_ENTRY_TRAVEL_M) && !route->entered)
    {
        g_robot_motion_command = ROBOT_MOTION_SHIFT_LEFT;
        route->entry_m = 0.0;
        g_robot_entry_counting = false;
    }

    if (route->phase == ROBOT_ROUTE_EXIT)
    {
        if (input->rear && input->range.rear_mm <= ROBOT_EXIT_DISTANCE_MM)
        {
            g_robot_motion_command = ROBOT_MOTION_EXIT_SHIFT;
            route->counting_exit = true;
        }
        else if (input->rear && route->slow_exit_pending)
        {
            g_robot_motion_command = ROBOT_MOTION_REAR_APPROACH;
            route->slow_exit_pending = false;
        }
        if (robot_route_passed(route->counting_exit, input->reference_rpm,
                               &route->exit_m, ROBOT_EXIT_TRAVEL_M) && !input->rear)
        {
            route->counting_exit = false;
            route->exit_m = 0.0;
            g_robot_motion_command = ROBOT_MOTION_STOP;
            route->phase = ROBOT_ROUTE_IDLE;
        }
        return;
    }
    if (route->phase == ROBOT_ROUTE_IDLE)
    {
        return;
    }

    /* 前后两端使用相同换垄距离，但检测端、目标动作与方向输出相反。 */
    bool forward = route->phase == ROBOT_ROUTE_FORWARD;
    bool approaching = forward ? input->front : input->rear;
    bool opposite_clear = forward ? !input->rear : !input->front;
    uint16_t distance_mm = forward ? input->range.front_mm : input->range.rear_mm;
    if (approaching)
    {
        if (distance_mm <= ROBOT_ROW_END_MM)
        {
            g_robot_motion_command = forward ? ROBOT_MOTION_FRONT_SHIFT : ROBOT_MOTION_REAR_SHIFT;
            route->counting_shift = true;
        }
        else
        {
            g_robot_motion_command = forward ? ROBOT_MOTION_FRONT_APPROACH : ROBOT_MOTION_REAR_APPROACH;
        }
    }
    if (robot_route_passed(route->counting_shift, input->reference_rpm,
                           &route->shift_m, ROBOT_SHIFT_TRAVEL_M) && opposite_clear)
    {
        route->shift_m = 0.0;
        route->counting_shift = false;
        g_robot_motion_command = forward ? ROBOT_MOTION_REVERSE : ROBOT_MOTION_FORWARD;
        HAL_GPIO_WritePin(GPIOD, GPIO_PIN_15, forward ? GPIO_PIN_RESET : GPIO_PIN_SET);
        route->phase = forward ? ROBOT_ROUTE_REVERSE : ROBOT_ROUTE_FORWARD;
        if (forward && ++route->completed_rows >= ROBOT_ROW_COUNT)
        {
            route->phase = ROBOT_ROUTE_EXIT;
            route->slow_exit_pending = true;
        }
    }
}

/* 基于原有标定选择前进、横移和旋转分量。未定义的模式组合沿用上周期目标。 */
static void robot_motion_select(bool manual, robot_motion_command command,
                                const robot_motion_trim *trim, robot_velocity *velocity)
{
    if (manual)
    {
        switch (command)
        {
            case ROBOT_MOTION_FORWARD:
                *velocity = (robot_velocity){70.0F, 0.0F, 0.0F};
                break;
            case ROBOT_MOTION_REVERSE:
                *velocity = (robot_velocity){-70.0F, 0.0F, 0.0F};
                break;
            case ROBOT_MOTION_FRONT_APPROACH:
                *velocity = (robot_velocity){0.0F, -35.0F, 0.0F};
                break;
            case ROBOT_MOTION_REAR_APPROACH:
                *velocity = (robot_velocity){0.0F, 60.0F, 0.0F};
                break;
            case ROBOT_MOTION_SHIFT_LEFT:
                *velocity = (robot_velocity){0.0F, 0.0F, 250.0F};
                break;
            case ROBOT_MOTION_FRONT_SHIFT:
                *velocity = (robot_velocity){0.0F, 0.0F, -250.0F};
                break;
            case ROBOT_MOTION_STOP:
                *velocity = (robot_velocity){0};
                break;
            default:
                break;
        }
        return;
    }
    switch (command)
    {
        case ROBOT_MOTION_FORWARD:
            *velocity = (robot_velocity){70.0F, -trim->left, trim->yaw};
            break;
        case ROBOT_MOTION_REVERSE:
            *velocity = (robot_velocity){-70.0F, -trim->left, trim->yaw};
            break;
        case ROBOT_MOTION_FRONT_APPROACH:
            *velocity = (robot_velocity){-trim->front, -trim->left, trim->yaw};
            break;
        case ROBOT_MOTION_REAR_APPROACH:
            *velocity = (robot_velocity){trim->rear, -trim->left, trim->yaw};
            break;
        case ROBOT_MOTION_SHIFT_LEFT:
            *velocity = (robot_velocity){trim->rear, 70.0F, trim->yaw * 3};
            break;
        case ROBOT_MOTION_SLOW_LEFT:
            *velocity = (robot_velocity){trim->rear, 40.0F, trim->yaw * 3};
            break;
        case ROBOT_MOTION_FRONT_SHIFT:
            *velocity = (robot_velocity){-trim->front, -40.0F, trim->yaw};
            break;
        case ROBOT_MOTION_REAR_SHIFT:
            *velocity = (robot_velocity){trim->rear, -35.0F, trim->yaw};
            break;
        case ROBOT_MOTION_EXIT_SHIFT:
            *velocity = (robot_velocity){0.0F, -35.0F, trim->yaw};
            break;
        case ROBOT_MOTION_STOP:
            *velocity = (robot_velocity){0};
            break;
        case ROBOT_MOTION_ENTRY:
            *velocity = (robot_velocity){0.0F, 60.0F, (float)(trim->yaw * 0.8)};
            break;
        default:
            break;
    }
}

/* 仅电机任务写 PWM。驱动拒绝指令时撤销水泵输出。 */
static void robot_motion_write(const int pwm[4])
{
    if (!robot_motor_write(pwm))
    {
        HAL_GPIO_WritePin(GPIOD, GPIO_PIN_8, GPIO_PIN_RESET);
    }
}

/* 电机任务将底盘目标分解为四轮目标，并用本周期编码器计数计算 PID 输出。
 * velocity 为空表示禁止驱动，此时清零 PWM、轮速 PID 和编码器计数。
 * wheel_rpm 须容纳 A、B、C、D 四个反馈转速（转/分）。沿用底盘标定系数，B、D 反向换算，读取后清零计数器。
 */
static void robot_motion_drive(const robot_velocity *velocity, float wheel_rpm[4])
{
    TIM_TypeDef *const timers[] = {TIM4, TIM3, TIM5, TIM2};
    float targets[4];
    int pwm[4] = {0};
    size_t index;
    /* 暂停自动运动时仍清空编码器增量，避免恢复后的首周期累积整段停车时间。 */
    if (velocity == NULL)
    {
        robot_motion_write(pwm);
        for (index = 0U; index < 4U; ++index)
        {
            timers[index]->CNT = 0U;
            wheel_rpm[index] = 0.0F;
            pid_clean(&g_robot_wheel_pid[index]);
        }
        return;
    }
    const float forward = velocity->forward;
    const float lateral = velocity->lateral;
    const float turn = velocity->rotation * ROBOT_ROTATION_ARM;
    targets[0] = forward - lateral - turn;
    targets[1] = forward + lateral + turn;
    targets[2] = forward + lateral - turn;
    targets[3] = forward - lateral + turn;
    for (index = 0U; index < 4U; ++index)
    {
        int16_t counts = (int16_t)timers[index]->CNT;
        double rpm = counts / ROBOT_ENCODER_COUNTS_PER_REV * ROBOT_ENCODER_RPM_SCALE;
        wheel_rpm[index] = (float)((index == 1U || index == 3U) ? -rpm : rpm);
    }
    for (index = 0U; index < 4U; ++index)
    {
        timers[index]->CNT = 0U;
    }
    for (index = 0U; index < 4U; ++index)
    {
        pwm[index] = (int)pid_calc(&g_robot_wheel_pid[index], wheel_rpm[index], targets[index]);
    }
    robot_motion_write(pwm);
}
/* USER CODE END Application */
